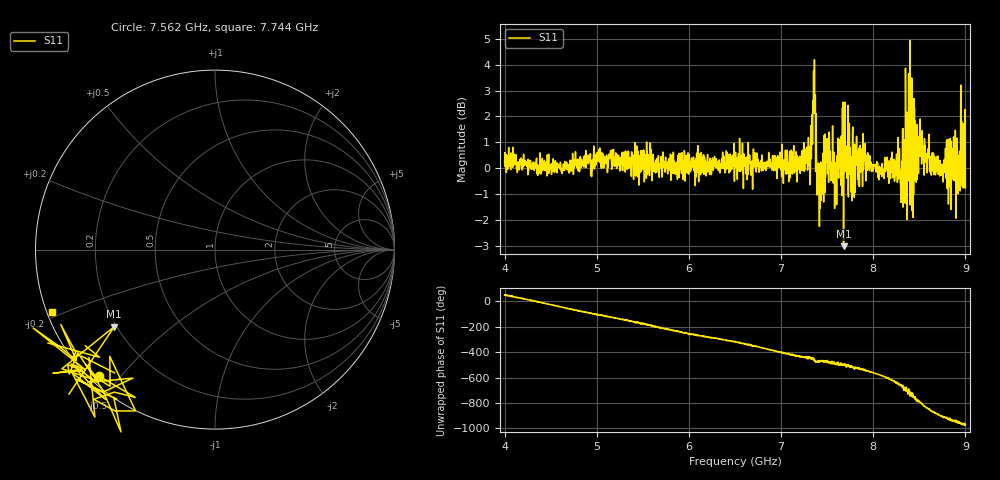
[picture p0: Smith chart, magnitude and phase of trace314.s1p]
! Created with skrf 1.8.0 (http://scikit-rf.org).
# Hz S RI R 50.0
!freq ReS11 ImS11
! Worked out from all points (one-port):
!   1601 points, 4 GHz to 9 GHz, reference 50 ohm
!   lowest |S11| = -3.0 dB at 7.678 GHz (marker M1), VSWR 5.81, Z = 9.57 - j16.4 ohm
!   |S11| at or under -10 dB: nowhere
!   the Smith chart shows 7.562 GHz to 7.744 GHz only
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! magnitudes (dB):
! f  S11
! 4 GHz  0.2
! 4.625 GHz  -0.2
! 5.25 GHz  -0.1
! 5.875 GHz  -0.4
! 6.5 GHz  0.4
! 7.125 GHz  0.4
! 7.306 GHz  0.1
! 7.356 GHz  2.1
! 7.412 GHz  -0.7
! 7.438 GHz  -0.6
! 7.503 GHz  -0.2
! 7.588 GHz  -0.3
! 7.65 GHz  1.2
! 7.678 GHz  -3.0
! 7.75 GHz  0.0
! 7.775 GHz  1.4
! 7.891 GHz  -0.1
! 8.097 GHz  0.2
! 8.262 GHz  -0.6
! 8.316 GHz  0.0
! 8.375 GHz  1.0
! 8.447 GHz  2.3
! 8.459 GHz  -0.5
! 8.519 GHz  1.1
! 8.734 GHz  0.0
! 8.922 GHz  -0.2
! 8.972 GHz  0.6
! 9 GHz  -0.8
